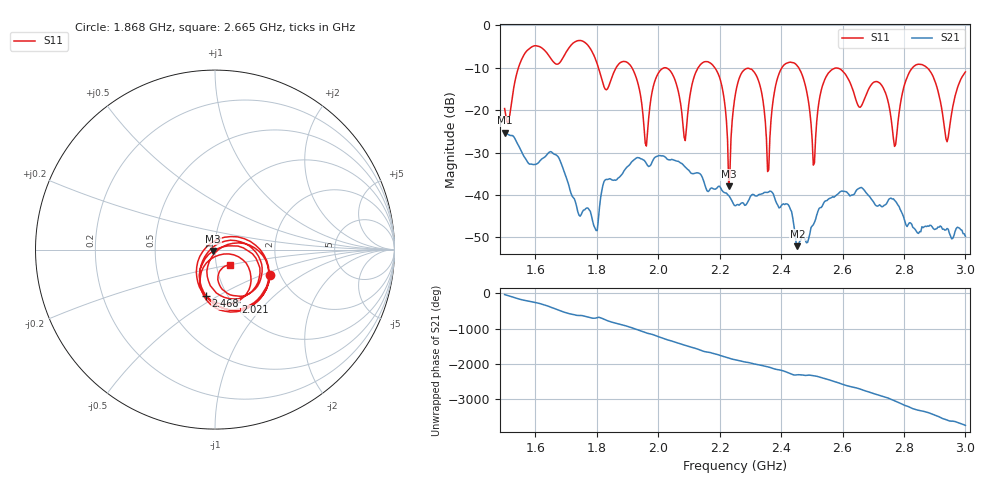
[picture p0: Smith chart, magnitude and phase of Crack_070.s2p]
# HZ S RI R 50
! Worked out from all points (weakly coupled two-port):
!   404 points, 1.5 GHz to 3 GHz, reference 50 ohm
!   highest |S21| = -25.30 dB at 1.5 GHz (marker M1); lowest = -52.1 dB at 2.453 GHz (marker M2)
!   lowest |S11| = -38.0 dB at 2.23 GHz (marker M3), VSWR 1.03, Z = 49 - j0.742 ohm
!   |S11| at or under -10 dB: 1.914 GHz to 2.13 GHz (215.7 MHz wide, 10.7 % of centre); 2.184 GHz to 2.403 GHz (218.9 MHz wide, 9.54 % of centre); 2.457 GHz to 2.828 GHz (370.8 MHz wide, 14 % of centre) (the widest 3 of 6)
!   S12 and S22 are empty: the file has one direction only
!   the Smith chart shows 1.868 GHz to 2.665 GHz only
!   S11 on the Smith chart (normalised r, x): 1.868 GHz: 1.77, -0.57; 2.021 GHz: 1.04, -0.68; 2.468 GHz: 0.79, -0.44; 2.665 GHz: 1.16, -0.20
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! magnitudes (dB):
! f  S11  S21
! 1.5 GHz  -19.6  -25.3
! 1.753 GHz  -3.7  -44.0
! 1.868 GHz  -9.4  -36.1
! 1.962 GHz  -28.5  -32.6
! 2.002 GHz  -11.1  -30.7
! 2.021 GHz  -10.0  -31.0
! 2.088 GHz  -27.2  -33.4
! 2.181 GHz  -9.7  -38.6
! 2.23 GHz  -38.0  -40.1
! 2.252 GHz  -16.0  -42.5
! 2.315 GHz  -11.3  -40.2
! 2.36 GHz  -34.0  -39.3
! 2.393 GHz  -11.4  -43.1
! 2.453 GHz  -9.6  -52.1
! 2.468 GHz  -11.5  -49.9
! 2.501 GHz  -27.0  -47.3
! 2.565 GHz  -10.5  -40.6
! 2.665 GHz  -18.5  -38.4
! 2.751 GHz  -18.7  -41.0
! 2.862 GHz  -9.4  -47.7
! 2.94 GHz  -27.4  -47.9
! 3 GHz  -11.0  -49.7
